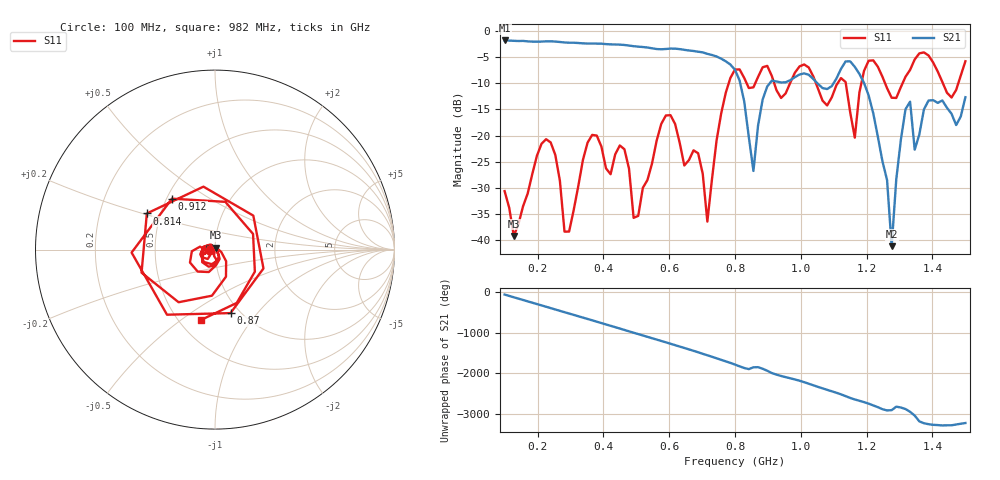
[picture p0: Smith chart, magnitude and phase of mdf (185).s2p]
! NanoVNA-App
! Date: 2025-09-26 09:41:10
! Start: 100MHz Stop: 1,5GHz Points: 101
! S-Parameter data: F S11 S21 S12 S22
# Hz S RI R 50
!  Frequency  S11_Real  S11_Imag  S21_Real  S21_Imag  S12_Real  S12_Imag  S22_Real  S22_Imag
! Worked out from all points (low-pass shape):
!   101 points, 100 MHz to 1.5 GHz, reference 50 ohm
!   highest |S21| = -1.79 dB at 100 MHz (marker M1); lowest = -41.2 dB at 1.276 GHz (marker M2)
!   |S21| within 3 dB of the highest: start of sweep to 740.7 MHz
!   lowest |S11| = -39.2 dB at 128 MHz (marker M3), VSWR 1.02, Z = 50.3 + j1.07 ohm
!   |S11| at or under -10 dB: start of sweep to 780.8 MHz; 1.046 GHz to 1.112 GHz (65.72 MHz wide, 6.09 % of centre); 1.256 GHz to 1.309 GHz (52.96 MHz wide, 4.13 % of centre)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
!   S12 and S22 are empty: the file has one direction only
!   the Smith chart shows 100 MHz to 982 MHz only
!   S11 on the Smith chart (normalised r, x): 100 MHz: 0.94, -0.01; 814 MHz: 0.42, +0.21; 870 MHz: 0.90, -0.74; 912 MHz: 0.53, +0.35; 982 MHz: 0.64, -0.60
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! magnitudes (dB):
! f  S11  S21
! 100 MHz  -30.6  -1.8
! 128 MHz  -39.2  -1.9
! 212 MHz  -21.6  -2.0
! 282 MHz  -38.4  -2.2
! 338 MHz  -24.6  -2.3
! 464 MHz  -22.6  -2.7
! 506 MHz  -35.4  -3.0
! 576 MHz  -17.7  -3.5
! 688 MHz  -23.4  -3.9
! 716 MHz  -36.5  -4.3
! 800 MHz  -7.4  -7.4
! 814 MHz  -7.3  -9.5
! 856 MHz  -10.8  -26.8
! 870 MHz  -8.8  -18.1
! 912 MHz  -8.6  -9.5
! 982 MHz  -8.0  -8.8
! 1.038 GHz  -8.7  -9.2
! 1.164 GHz  -20.4  -6.8
! 1.192 GHz  -7.6  -9.9
! 1.276 GHz  -12.8  -41.2
! 1.318 GHz  -8.7  -15.0
! 1.5 GHz  -5.8  -12.6
